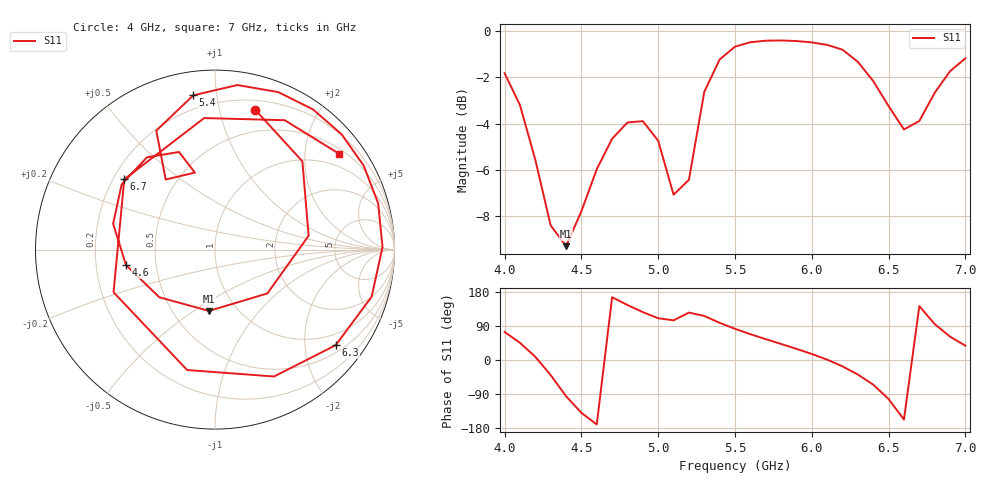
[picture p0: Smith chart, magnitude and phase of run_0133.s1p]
! Touchstone file exported from HFSS 2024.2.0
!  File:  C:/Users/wsak9/Desktop/Sim Fast/Widenad Patch/WP_AI_V1_sweep.aedt
!  Generated:  08:27:24 PM Oct 13, 2026
!  Design:  A1_model
!  Project:  WP_AI_V1_sweep
!  Setup:  Setup1
!  Solution:  Sweep
! Variables:
!  Air_gap = 4.27mm
!  Curve_Amp1 = 3.02
!  Curve_len1 = 1
!  Curve_pos = 11.845mm
!  Extra = 5.6mm
!  H_sub = 0.79mm
!  L_Patch = 19.69mm
!  L_Patch1 = 19.72mm
!  Sx = 1.75mm
!  Sy = 4.21mm
!  WS = 0.39mm
!  W_Patch = 15.43mm
!  W_Patch1 = 14.12mm
!Data is not renormalized
# GHz S MA
! Terminal data exported
! Port[1] = 1
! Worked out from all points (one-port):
!   31 points, 4 GHz to 7 GHz, reference per port
!   lowest |S11| = -9.3 dB at 4.4 GHz (marker M1), VSWR 2.05
!   |S11| at or under -10 dB: nowhere
!   S11 on the Smith chart (normalised r, x): 4 GHz: 0.28, +1.29; 4.6 GHz: 0.33, -0.08; 5.4 GHz: 0.12, +0.86; 6.3 GHz: 0.68, -2.72; 6.7 GHz: 0.24, +0.32; 7 GHz: 0.62, +2.80
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4  0.811 74.0
4.1  0.692 45.3
4.2  0.5272 8.4
4.3  0.3805 -39.9
4.4  0.3433 -95.5
4.5  0.4083 -139.4
4.6  0.5032 -170.1
4.7  0.5855 165.7
4.8  0.6348 145.0
4.9  0.6389 126.4
5  0.5797 110.2
5.1  0.4433 104.6
5.2  0.4773 125.1
5.3  0.739 116.3
5.4  0.868 98.0
5.5  0.9252 82.3
5.7  0.953 55.0
5.9  0.9514 29.5
6.1  0.9335 0.9
6.2  0.9113 -16.8
6.3  0.8578 -38.4
6.4  0.7797 -65.1
6.5  0.6886 -103.0
6.6  0.6131 -157.2
6.7  0.6394 142.2
6.8  0.7354 94.7
6.9  0.8189 61.7
7  0.8731 37.7
